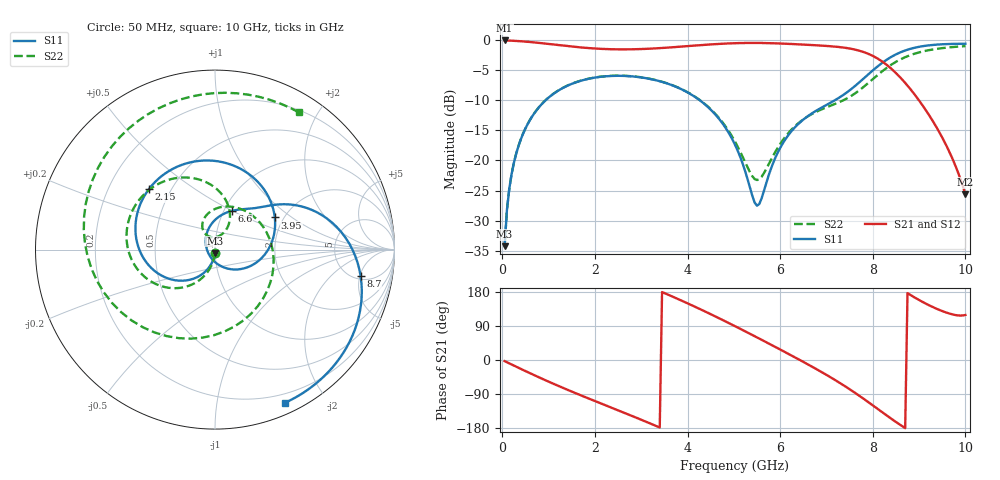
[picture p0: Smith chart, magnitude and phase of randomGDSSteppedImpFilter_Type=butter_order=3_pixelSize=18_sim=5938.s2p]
! freq	dB(S11)	phase(S11)	dB(S12)	phase(S12)
!  dB(S21)	phase(S21)	dB(S22)	phase(S22)
!S-par simulation data
#  GHz  S  DB  R 50
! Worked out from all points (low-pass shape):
!   200 points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, 50 MHz to 10 GHz, reference 50 ohm
!   highest |S21| = 0.00 dB at 50 MHz (marker M1); lowest = -25.6 dB at 10 GHz (marker M2)
!   |S21| within 3 dB of the highest: start of sweep to 8.102 GHz
!   lowest |S11| = -34.3 dB at 50 MHz (marker M3), VSWR 1.04, Z = 49.9 - j1.93 ohm
!   |S11| at or under -10 dB: start of sweep to 930.9 MHz; 4.27 GHz to 7.173 GHz (2.903 GHz wide, 50.7 % of centre)
!   |S22| runs from -34.3 to -1.0 dB; largest |S21 - S12| = 0
!   S11 on the Smith chart (normalised r, x): 50 MHz: 1.00, -0.04; 2.15 GHz: 0.38, +0.34; 3.95 GHz: 1.80, +0.75; 6.6 GHz: 1.09, +0.50; 8.7 GHz: 5.54, -5.16; 10 GHz: 0.11, -1.55
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0.05  -34.27 -93.3  -0.00 -3.0  -0.00 -3.0  -34.27 -92.5
0.2  -22.31 -103.5  -0.04 -11.8  -0.04 -11.8  -22.30 -100.7
0.5  -14.66 -123.3  -0.19 -29.3  -0.19 -29.3  -14.65 -116.2
1.1  -8.91 -160.9  -0.68 -62.5  -0.68 -62.5  -8.90 -145.2
1.75  -6.60 160.6  -1.20 -95.9  -1.20 -95.9  -6.58 -173.6
2.15  -6.03 137.6  -1.41 -115.7  -1.41 -115.7  -6.02 170.1
2.8  -5.99 99.9  -1.48 -147.6  -1.48 -147.6  -5.97 144.3
3.4  -6.79 63.6  -1.28 -178.1  -1.28 -178.1  -6.78 120.3
3.95  -8.44 28.3  -0.98 152.4  -0.98 152.4  -8.42 97.6
4.55  -11.92 -13.5  -0.64 118.0  -0.64 118.0  -11.83 73.4
5.05  -17.78 -55.6  -0.45 87.8  -0.45 87.8  -17.22 60.6
5.5  -27.53 -152.9  -0.42 59.6  -0.42 59.6  -23.25 93.5
6.05  -17.23 100.4  -0.53 24.5  -0.53 24.5  -16.69 118.9
6.6  -12.60 66.7  -0.73 -11.6  -0.73 -11.6  -12.64 85.8
6.7  -12.08 62.2  -0.77 -18.4  -0.77 -18.4  -12.20 77.4
7.55  -8.01 38.4  -1.42 -81.1  -1.42 -81.1  -9.17 -23.0
8  -5.00 24.3  -2.57 -119.7  -2.57 -119.7  -6.44 -90.5
8.35  -2.97 7.9  -4.37 -150.7  -4.37 -150.7  -4.30 -139.6
8.7  -1.67 -10.4  -7.07 -179.8  -7.07 -179.8  -2.79 177.2
9  -1.06 -25.3  -10.00 158.3  -10.00 158.3  -1.99 144.9
9.35  -0.71 -40.9  -14.12 136.7  -14.12 136.7  -1.44 111.8
10  -0.55 -65.3  -25.61 118.8  -25.61 118.8  -0.95 58.5
